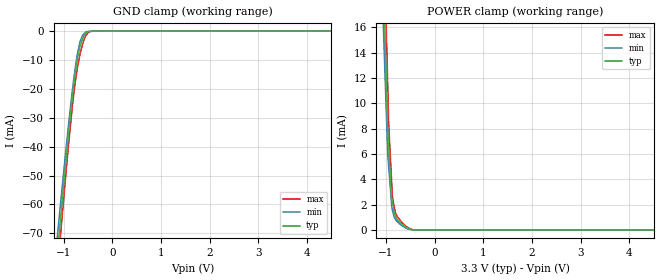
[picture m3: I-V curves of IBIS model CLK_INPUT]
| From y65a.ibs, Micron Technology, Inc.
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|   MODEL CLK_INPUT
[Model]   CLK_INPUT
Model_type   Input
Vinl = 800.000mV
Vinh = 2.000V
|   typ   min   max
C_comp   2.331pF   2.231pF   2.431pF
[Voltage Range]   3.300V   3.000V   3.600V
| Junction Temperature (Case temp is 35C typ, 70C min, 0C max)
[Temperature Range]   50.0   85.0   0.0
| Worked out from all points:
|   GND clamp passes 1 mA (typ) near -0.55 V on its own axis
|   POWER clamp passes 1 mA (typ) near -0.80 V on its own axis
[GND Clamp]
|   Voltage   I(typ)   I(min)   I(max)
-3.3V     -516.5mA   -478.8mA   -557.8mA
-1.115V   -74.69mA   -68.84mA   -81.22mA
-1.085V   -69.12mA   -63.64mA   -75.23mA
-1.045V   -61.83mA   -56.83mA   -67.34mA
-870mV    -31.24mA   -28.06mA   -34.57mA
-775mV    -16.68mA   -14.66mA   -19.61mA
-720mV    -10.19mA   -8.187mA   -13.24mA
-665mV    -5.475mA   -3.83mA    -8.392mA
-605mV    -2.457mA   -1.33mA    -4.261mA
-545mV    -793.1uA   -392.5uA   -1.743mA
-335mV    -4.105uA   -1.553uA   -3.855uA
6.6V      0A         0A         0A
[POWER Clamp]
|   Voltage   I(typ)   I(min)   I(max)
-3.3V     453.3mA    413.4mA    503.1mA
-1.065V   21.1mA     17.1mA     27.06mA
-1.045V   18.45mA    14.86mA    23.44mA
-1.04V    17.78mA    14.31mA    22.6mA
-970mV    8.493mA    6.471mA    12.09mA
-965mV    7.999mA    5.973mA    11.34mA
-945mV    6.563mA    4.965mA    8.333mA
-890mV    2.697mA    2.194mA    4.161mA
-870mV    2.244mA    1.578mA    2.655mA
-805mV    1.041mA    832.3uA    1.324mA
-550mV    131.9uA    79.56uA    184.4uA
6.6V      0A         0A         0A
